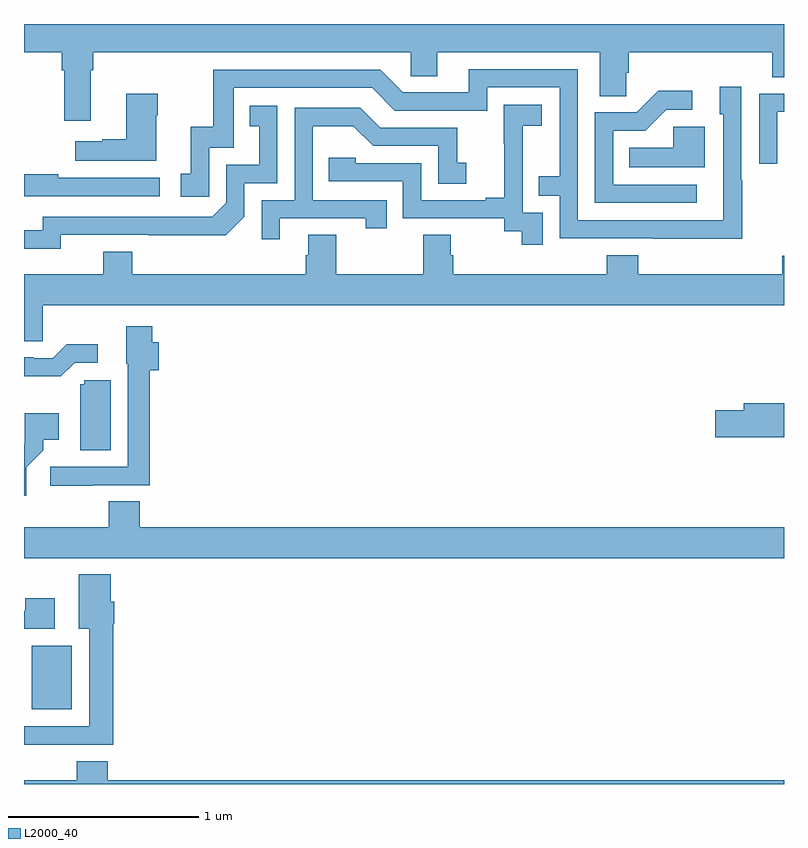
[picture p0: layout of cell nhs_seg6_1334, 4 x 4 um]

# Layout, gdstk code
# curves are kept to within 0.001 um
import gdstk
lib = gdstk.Library(unit=1e-6, precision=1e-09)
def R(c, l, rs):  # rectangles x0, y0, x1, y1
    for r in rs: c.add(gdstk.rectangle(r[:2], r[2:], *l))
def P(c, l, *ps):  # polygons
    for p in ps: c.add(gdstk.Polygon(p, *l))
L2000_40 = (2000, 40)

nhs_seg6_1334 = lib.new_cell('nhs_seg6_1334')
R(nhs_seg6_1334, L2000_40, [(193.04,927.893,193.252,928.228)])
P(nhs_seg6_1334, L2000_40, [(193.351,931.256),(193.364,931.256),(193.364,931.352),(195.036,931.352),(195.036,931.225),(195.175,931.225),(195.175,931.352),(196.031,931.352),(196.031,931.12),(196.17,931.12),(196.17,931.243),(196.184,931.243),(196.184,931.352),(196.937,931.352),(196.937,931.219),(197,931.219),(197,931.5),(193,931.5),(193,931.352),(193.199,931.352),(193.199,931.256),(193.211,931.256),(193.211,930.99),(193.351,930.99)],
  [(196.779,930.677),(196.776,930.677),(196.776,931.171),(196.661,931.171),(196.661,931.026),(196.68,931.026),(196.679,930.468),(195.915,930.468),(195.915,931.263),(195.341,931.263),(195.341,931.14),(194.994,931.14),(194.874,931.26),(193.995,931.26),(193.995,930.958),(193.877,930.958),(193.877,930.711),(193.824,930.711),(193.824,930.591),(193.974,930.591),(193.974,930.849),(194.103,930.849),(194.103,931.164),(194.832,931.164),(194.952,931.044),(195.438,931.044),(195.438,931.167),(195.819,931.167),(195.819,930.698),(195.709,930.698),(195.709,930.597),(195.819,930.597),(195.819,930.372),(196.779,930.371)],
  [(196.54,930.654),(196.101,930.654),(196.101,930.939),(196.27,930.939),(196.381,931.05),(196.516,931.05),(196.516,931.148),(196.337,931.148),(196.224,931.035),(196.005,931.035),(196.005,930.558),(196.54,930.558)],
  [(196.965,931.038),(197,931.038),(197,931.134),(196.869,931.134),(196.869,930.765),(196.965,930.765)],
  [(193.696,931.019),(193.704,931.019),(193.704,931.132),(193.538,931.132),(193.538,930.893),(193.412,930.893),(193.412,930.883),(193.269,930.883),(193.269,930.779),(193.696,930.779)],
  [(195.729,930.507),(195.624,930.507),(195.624,930.737),(195.626,930.737),(195.626,930.965),(195.724,930.965),(195.724,931.075),(195.526,931.075),(195.526,930.869),(195.527,930.869),(195.527,930.586),(195.431,930.586),(195.431,930.573),(195.09,930.573),(195.09,930.768),(194.745,930.768),(194.745,930.795),(194.605,930.795),(194.605,930.672),(194.994,930.672),(194.994,930.477),(195.528,930.477),(195.528,930.409),(195.621,930.409),(195.621,930.339),(195.729,930.339)],
  [(193.194,930.39),(194.062,930.389),(194.16,930.486),(194.16,930.663),(194.334,930.663),(194.334,931.069),(194.188,931.069),(194.188,930.963),(194.237,930.963),(194.237,930.759),(194.064,930.759),(194.064,930.558),(193.992,930.486),(193.098,930.486),(193.098,930.414),(193,930.414),(193,930.317),(193.194,930.317)],
  [(194.347,930.477),(194.798,930.477),(194.798,930.426),(194.909,930.426),(194.909,930.573),(194.52,930.573),(194.52,930.962),(194.734,930.962),(194.838,930.858),(195.18,930.858),(195.18,930.66),(195.328,930.66),(195.328,930.769),(195.279,930.769),(195.279,930.954),(194.875,930.954),(194.77,931.059),(194.424,931.059),(194.424,930.573),(194.25,930.573),(194.25,930.366),(194.347,930.366)],
  [(196.582,930.958),(196.417,930.958),(196.417,930.85),(196.186,930.85),(196.186,930.746),(196.582,930.746)],
  [(193.714,930.69),(193.181,930.69),(193.181,930.71),(193,930.71),(193,930.594),(193.714,930.594)],
  [(193.098,930.02),(197,930.02),(197,930.28),(196.991,930.28),(196.991,930.184),(196.232,930.184),(196.232,930.283),(196.067,930.283),(196.067,930.184),(195.26,930.184),(195.26,930.282),(195.247,930.282),(195.247,930.392),(195.1,930.392),(195.1,930.184),(194.643,930.184),(194.643,930.392),(194.495,930.392),(194.495,930.282),(194.483,930.282),(194.483,930.184),(193.571,930.184),(193.571,930.301),(193.418,930.301),(193.418,930.184),(193,930.184),(193,929.83),(193.098,929.83)],
  [(193.361,929.073),(193.661,929.073),(193.661,929.678),(193.709,929.678),(193.709,929.826),(193.674,929.826),(193.674,929.908),(193.538,929.908),(193.538,929.712),(193.545,929.712),(193.545,929.169),(193.137,929.169),(193.137,929.071),(193.361,929.071)],
  [(193.266,929.718),(193.387,929.718),(193.387,929.815),(193.225,929.815),(193.152,929.742),(193.052,929.742),(193.052,929.745),(193,929.745),(193,929.646),(193.094,929.646),(193.094,929.645),(193.193,929.645)],
  [(193.456,929.625),(193.317,929.625),(193.317,929.604),(193.295,929.604),(193.295,929.256),(193.456,929.256)],
  [(197,929.504),(196.787,929.504),(196.787,929.468),(196.638,929.468),(196.638,929.326),(197,929.326)],
  [(193.012,929.167),(193.102,929.257),(193.102,929.312),(193.183,929.312),(193.183,929.452),(193.005,929.452),(193.005,929.297),(193,929.292),(193,929.016),(193.012,929.016)],
  [(197,928.852),(193.61,928.852),(193.61,928.988),(193.445,928.988),(193.445,928.852),(193,928.852),(193,928.688),(197,928.688)],
  [(193.469,928.344),(193.474,928.344),(193.474,928.458),(193.456,928.458),(193.456,928.603),(193.289,928.603),(193.289,928.316),(193.343,928.316),(193.343,927.804),(193,927.804),(193,927.707),(193.469,927.707)],
  [(193.162,928.477),(193.006,928.477),(193.006,928.413),(193,928.413),(193,928.317),(193.162,928.317)],
  [(197,927.52),(193.442,927.52),(193.442,927.619),(193.277,927.619),(193.277,927.52),(193,927.52),(193,927.5),(197,927.5)])

lib.write_gds('nhs_seg6_1334.gds')
